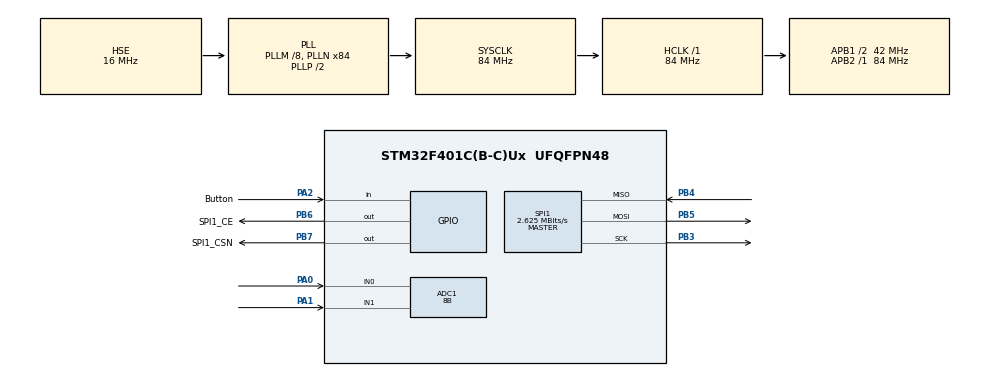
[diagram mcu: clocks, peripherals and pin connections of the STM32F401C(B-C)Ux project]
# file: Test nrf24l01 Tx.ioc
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ADC1.Channel-0\#ChannelRegularConversion=ADC_CHANNEL_0
ADC1.Channel-1\#ChannelRegularConversion=ADC_CHANNEL_1
ADC1.ContinuousConvMode=ENABLE
ADC1.DMAContinuousRequests=ENABLE
ADC1.NbrOfConversion=2
ADC1.NbrOfConversionFlag=1
ADC1.Rank-0\#ChannelRegularConversion=1
ADC1.Rank-1\#ChannelRegularConversion=2
ADC1.Resolution=ADC_RESOLUTION_8B
ADC1.SamplingTime-0\#ChannelRegularConversion=ADC_SAMPLETIME_144CYCLES
ADC1.SamplingTime-1\#ChannelRegularConversion=ADC_SAMPLETIME_144CYCLES
ADC1.ScanConvMode=ENABLE
ADC1.master=1
Dma.ADC1.0.Direction=DMA_PERIPH_TO_MEMORY
Dma.ADC1.0.FIFOMode=DMA_FIFOMODE_DISABLE
Dma.ADC1.0.Instance=DMA2_Stream0
Dma.ADC1.0.MemDataAlignment=DMA_MDATAALIGN_WORD
Dma.ADC1.0.MemInc=DMA_MINC_ENABLE
Dma.ADC1.0.Mode=DMA_CIRCULAR
Dma.ADC1.0.PeriphDataAlignment=DMA_PDATAALIGN_WORD
Dma.ADC1.0.PeriphInc=DMA_PINC_DISABLE
Dma.ADC1.0.Priority=DMA_PRIORITY_LOW
Dma.Request0=ADC1
Mcu.Family=STM32F4
Mcu.Name=STM32F401C(B-C)Ux
Mcu.Package=UFQFPN48
NVIC.DMA2_Stream0_IRQn=true\:0\:0\:false\:false\:true\:false\:true\:true
NVIC.PriorityGroup=NVIC_PRIORITYGROUP_4
PA0-WKUP.GPIO_Mode=GPIO_MODE_ANALOG
PA0-WKUP.Signal=ADCx_IN0
PA1.GPIO_Mode=GPIO_MODE_ANALOG
PA1.Signal=ADCx_IN1
PA13.Mode=Serial_Wire
PA13.Signal=SYS_JTMS-SWDIO
PA14.Mode=Serial_Wire
PA14.Signal=SYS_JTCK-SWCLK
PA2.GPIO_Label=Button
PA2.GPIO_PuPd=GPIO_PULLUP
PA2.Signal=GPIO_Input
PB3.Mode=Full_Duplex_Master
PB3.Signal=SPI1_SCK
PB4.Mode=Full_Duplex_Master
PB4.Signal=SPI1_MISO
PB5.Mode=Full_Duplex_Master
PB5.Signal=SPI1_MOSI
PB6.GPIO_Label=SPI1_CE
PB6.GPIO_Speed=GPIO_SPEED_FREQ_LOW
PB6.PinState=GPIO_PIN_RESET
PB6.Signal=GPIO_Output
PB7.GPIO_Label=SPI1_CSN
PB7.GPIO_Speed=GPIO_SPEED_FREQ_LOW
PB7.PinState=GPIO_PIN_RESET
PB7.Signal=GPIO_Output
PH0\ -\ OSC_IN.Mode=HSE-External-Oscillator
PH0\ -\ OSC_IN.Signal=RCC_OSC_IN
PH1\ -\ OSC_OUT.Mode=HSE-External-Oscillator
PH1\ -\ OSC_OUT.Signal=RCC_OSC_OUT
ProjectManager.HeapSize=0x200
ProjectManager.StackSize=0x400
ProjectManager.TargetToolchain=STM32CubeIDE
RCC.48MHZClocksFreq_Value=42000000
RCC.AHBFreq_Value=84000000
RCC.APB1CLKDivider=RCC_HCLK_DIV2
RCC.APB1Freq_Value=42000000
RCC.APB1TimFreq_Value=84000000
RCC.APB2Freq_Value=84000000
RCC.APB2TimFreq_Value=84000000
RCC.CortexFreq_Value=84000000
RCC.HCLKFreq_Value=84000000
RCC.HSE_VALUE=16000000
RCC.HSI_VALUE=16000000
RCC.LSE_VALUE=32768
RCC.PLLM=8
RCC.PLLN=84
RCC.PLLSourceVirtual=RCC_PLLSOURCE_HSE
RCC.SYSCLKFreq_VALUE=84000000
RCC.SYSCLKSource=RCC_SYSCLKSOURCE_PLLCLK
RCC.VCOOutputFreq_Value=168000000
SH.ADCx_IN0.0=ADC1_IN0,IN0
SH.ADCx_IN1.0=ADC1_IN1,IN1
SPI1.BaudRatePrescaler=SPI_BAUDRATEPRESCALER_32
SPI1.CalculateBaudRate=2.625 MBits/s
SPI1.Direction=SPI_DIRECTION_2LINES
SPI1.Mode=SPI_MODE_MASTER
SPI1.VirtualType=VM_MASTER
board=custom

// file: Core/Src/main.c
/* USER CODE BEGIN Header */
/**
  ******************************************************************************
  * @file           : main.c
  * @brief          : Main program body
  ******************************************************************************
  * @attention
  *
  * Copyright (c) 2023 STMicroelectronics.
  * All rights reserved.
  *
  * This software is licensed under terms that can be found in the LICENSE file
  * in the root directory of this software component.
  * If no LICENSE file comes with this software, it is provided AS-IS.
  *
  ******************************************************************************
  */
/* USER CODE END Header */
#include "main.h"
#include "adc.h"
#include "dma.h"
#include "spi.h"
#include "gpio.h"

/* USER CODE BEGIN PD */
uint8_t Rxaddr[5] = { 'O', 'M', 'N', 'I', '0' };
uint8_t TxData[8];
uint32_t lastTime = 0;
/* USER CODE END PD */

/* USER CODE BEGIN PV */
int ADC_Read[2]={0};
int Joystick_y=0;
int Joystick_x=0;
int Switch=0;
int Omega=0;
int State_button=0;
int current_time=0;
int last_time=0;
int Button=0;
//int Vx=0;
//int Vy=0;

/* USER CODE END PV */

void SystemClock_Config(void);
/* USER CODE BEGIN PFP */
double map(double x,double in_min,double in_max,double out_min,double out_max)
{
  return (x-in_min)*(out_max-out_min)/(in_max-in_min)+out_min;
}

void nrf24l01_Master(void){
 TxData[0] = Joystick_x;//x1
 TxData[1] = Joystick_y;//y1
 TxData[2] = Omega;//x2
 TxData[3] = 4; //y2
 TxData[4] = 5; //y2
 TxData[5] = 6; //y2
 TxData[6] = 7; //y2
 TxData[7] = 8; //y2
     NRF24_Transmit(TxData,8);
      HAL_Delay(5);
}
void Joystick(){

      if (ADC_Read[0] >= 0 && ADC_Read[0] <= 120) {
           Joystick_x = map(ADC_Read[0], 0, 120, 0, 128);
        }
      if (ADC_Read[0] >= 130 && ADC_Read[0] <= 255) {
           Joystick_x = map(ADC_Read[0], 130, 255, 128, 255);
        }
      if (ADC_Read[0] > 120 && ADC_Read[0] < 130){
           Joystick_x = 128;
        }

      if (ADC_Read[1] >= 0 && ADC_Read[1] <= 120) {
           Joystick_y = map(ADC_Read[1], 0, 120, 0, 128);
        }
      if (ADC_Read[1] >= 130 && ADC_Read[1] <= 255) {
           Joystick_y = map(ADC_Read[1], 130, 255, 128, 255);
        }
      if (ADC_Read[1] > 120 && ADC_Read[1] < 130){
           Joystick_y = 128;
        }

      if (Switch == 0) {
    	  Joystick_y = Joystick_y;
               Omega = 128;
        }
      else {
               Omega = Joystick_y;
          Joystick_y = 128;
      }

    }

/* USER CODE END PFP */

int main(void)
{

  /* MCU Configuration--------------------------------------------------------*/

  /* Reset of all peripherals, Initializes the Flash interface and the Systick. */
  HAL_Init();

  /* Configure the system clock */
  SystemClock_Config();

  /* Initialize all configured peripherals */
  MX_GPIO_Init();
  MX_DMA_Init();
  MX_ADC1_Init();
  MX_SPI1_Init();
  /* USER CODE BEGIN 2 */
  HAL_ADC_Start_DMA(&hadc1, &ADC_Read,2);

  NRF24_Init();
  NRF24_TxMode(Rxaddr, 112, 8);//NRF24_TxMode(Address, channel, payload_size)

  /* USER CODE END 2 */

  /* Infinite loop */
  while (1)
  {

    /* USER CODE BEGIN 3 */
	  Button = HAL_GPIO_ReadPin(Button_GPIO_Port, Button_Pin);
	  if (Button == 0 && State_button == 0){
	  State_button=1;
	  last_time = HAL_GetTick();
	  }
	  if (Button == 1 && State_button == 1){
	  State_button = 0;
	  current_time = HAL_GetTick() ;
	  }
	  if (current_time - last_time > 20){
	  last_time = current_time;
	  Switch =! Switch;
	  }
	  Joystick();
	  nrf24l01_Master();
  }
  /* USER CODE END 3 */
}

void SystemClock_Config(void)
{
  RCC_OscInitTypeDef RCC_OscInitStruct = {0};
  RCC_ClkInitTypeDef RCC_ClkInitStruct = {0};

  /** Configure the main internal regulator output voltage
  */
  __HAL_RCC_PWR_CLK_ENABLE();
  __HAL_PWR_VOLTAGESCALING_CONFIG(PWR_REGULATOR_VOLTAGE_SCALE2);

  /** Initializes the RCC Oscillators according to the specified parameters
  * in the RCC_OscInitTypeDef structure.
  */
  RCC_OscInitStruct.OscillatorType = RCC_OSCILLATORTYPE_HSE;
  RCC_OscInitStruct.HSEState = RCC_HSE_ON;
  RCC_OscInitStruct.PLL.PLLState = RCC_PLL_ON;
  RCC_OscInitStruct.PLL.PLLSource = RCC_PLLSOURCE_HSE;
  RCC_OscInitStruct.PLL.PLLM = 8;
  RCC_OscInitStruct.PLL.PLLN = 84;
  RCC_OscInitStruct.PLL.PLLP = RCC_PLLP_DIV2;
  RCC_OscInitStruct.PLL.PLLQ = 4;
  if (HAL_RCC_OscConfig(&RCC_OscInitStruct) != HAL_OK)
  {
    Error_Handler();
  }

  /** Initializes the CPU, AHB and APB buses clocks
  */
  RCC_ClkInitStruct.ClockType = RCC_CLOCKTYPE_HCLK|RCC_CLOCKTYPE_SYSCLK
                              |RCC_CLOCKTYPE_PCLK1|RCC_CLOCKTYPE_PCLK2;
  RCC_ClkInitStruct.SYSCLKSource = RCC_SYSCLKSOURCE_PLLCLK;
  RCC_ClkInitStruct.AHBCLKDivider = RCC_SYSCLK_DIV1;
  RCC_ClkInitStruct.APB1CLKDivider = RCC_HCLK_DIV2;
  RCC_ClkInitStruct.APB2CLKDivider = RCC_HCLK_DIV1;

  if (HAL_RCC_ClockConfig(&RCC_ClkInitStruct, FLASH_LATENCY_2) != HAL_OK)
  {
    Error_Handler();
  }
}

void Error_Handler(void)
{
  __disable_irq();
  while (1)
  {
  }
}
